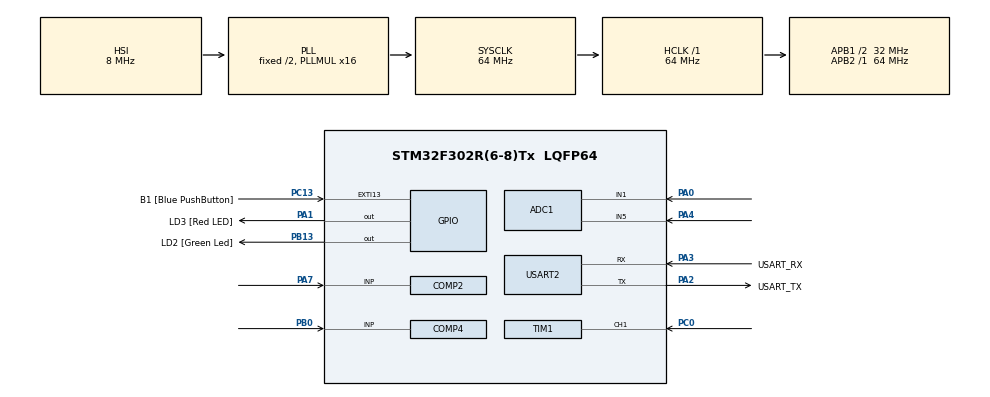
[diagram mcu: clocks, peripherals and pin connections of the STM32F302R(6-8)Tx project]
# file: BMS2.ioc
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ADC1.Channel-0\#ChannelRegularConversion=ADC_CHANNEL_1
ADC1.EnableInjectedConversion=DISABLE
ADC1.NbrOfConversion=1
ADC1.NbrOfConversionFlag=1
ADC1.Offset-0\#ChannelRegularConversion=0
ADC1.OffsetNumber-0\#ChannelRegularConversion=ADC_OFFSET_NONE
ADC1.Rank-0\#ChannelRegularConversion=1
ADC1.SamplingTime-0\#ChannelRegularConversion=ADC_SAMPLETIME_1CYCLE_5
ADC1.master=1
COMP2.InvertingInput=COMP_INVERTINGINPUT_1_2VREFINT
COMP2.TriggerMode=COMP_TRIGGERMODE_IT_FALLING
COMP4.InvertingInput=COMP_INVERTINGINPUT_VREFINT
COMP4.TriggerMode=COMP_TRIGGERMODE_IT_RISING_FALLING
Mcu.Family=STM32F3
Mcu.Name=STM32F302R(6-8)Tx
Mcu.Package=LQFP64
NVIC.ADC1_IRQn=true\:0\:0\:false\:false\:true\:true\:true\:true
NVIC.COMP2_IRQn=true\:0\:0\:false\:false\:true\:false\:true\:true
NVIC.COMP4_6_IRQn=true\:0\:0\:false\:false\:true\:false\:true\:true
NVIC.EXTI15_10_IRQn=true\:0\:0\:false\:false\:true\:true\:true\:true
NVIC.PriorityGroup=NVIC_PRIORITYGROUP_0
NVIC.RCC_IRQn=true\:0\:0\:false\:false\:true\:true\:false\:true
NVIC.TIM1_CC_IRQn=true\:0\:0\:false\:false\:true\:true\:true\:true
NVIC.TIM1_UP_TIM16_IRQn=true\:0\:0\:false\:false\:true\:true\:true\:true
PA0.Mode=IN1-Single-Ended
PA0.Signal=ADC1_IN1
PA1.GPIO_Label=LD3 [Red LED]
PA1.Signal=GPIO_Output
PA13.GPIO_Label=TMS
PA13.Mode=Serial_Wire
PA13.Signal=SYS_JTMS-SWDIO
PA14.GPIO_Label=TCK
PA14.Mode=Serial_Wire
PA14.Signal=SYS_JTCK-SWCLK
PA15.Signal=SPI3_NSS
PA2.GPIO_Label=USART_TX
PA2.GPIO_Mode=GPIO_MODE_AF_PP
PA2.GPIO_PuPd=GPIO_NOPULL
PA2.GPIO_Speed=GPIO_SPEED_FREQ_LOW
PA2.Mode=Asynchronous
PA2.Signal=USART2_TX
PA3.GPIO_Label=USART_RX
PA3.GPIO_Mode=GPIO_MODE_AF_PP
PA3.GPIO_PuPd=GPIO_NOPULL
PA3.GPIO_Speed=GPIO_SPEED_FREQ_LOW
PA3.Mode=Asynchronous
PA3.Signal=USART2_RX
PA4.Mode=IN5-Single-Ended
PA4.Signal=ADC1_IN5
PA7.Mode=INP
PA7.Signal=COMP2_INP
PB0.Mode=INP
PB0.Signal=COMP4_INP
PB13.GPIO_Label=LD2 [Green Led]
PB13.Signal=GPIO_Output
PB3.GPIO_Label=SWO
PB3.Mode=Trace_Asynchronous_SW
PB3.Signal=SYS_JTDO-TRACESWO
PC0.Signal=S_TIM1_CH1
PC13.GPIO_Label=B1 [Blue PushButton]
PC13.GPIO_ModeDefaultEXTI=GPIO_MODE_IT_FALLING
PC13.Signal=GPXTI13
PC14\ -\ OSC32_IN.Mode=LSE-External-Oscillator
PC14\ -\ OSC32_IN.Signal=RCC_OSC32_IN
PC15\ -\ OSC32_OUT.Mode=LSE-External-Oscillator
PC15\ -\ OSC32_OUT.Signal=RCC_OSC32_OUT
PF0-OSC_IN.Mode=HSE-External-Clock-Source
PF0-OSC_IN.Signal=RCC_OSC_IN
PF1-OSC_OUT.Signal=RCC_OSC_OUT
ProjectManager.HeapSize=0x200
ProjectManager.StackSize=0x400
ProjectManager.TargetToolchain=STM32CubeIDE
RCC.AHBFreq_Value=64000000
RCC.APB1CLKDivider=RCC_HCLK_DIV2
RCC.APB1Freq_Value=32000000
RCC.APB1TimFreq_Value=64000000
RCC.APB2Freq_Value=64000000
RCC.APB2TimFreq_Value=64000000
RCC.CortexFreq_Value=64000000
RCC.HCLKFreq_Value=64000000
RCC.HSE_VALUE=8000000
RCC.HSI_VALUE=8000000
RCC.PLLM=8
RCC.PLLMUL=RCC_PLL_MUL16
RCC.PLLN=336
RCC.PLLP=RCC_PLLP_DIV4
RCC.PLLQ=7
RCC.RCC_PLLsource_Clock_Source_FROM_HSE=RCC_HSE_PREDIV_DIV2
RCC.SYSCLKFreq_VALUE=64000000
RCC.SYSCLKSourceVirtual=RCC_SYSCLKSOURCE_PLLCLK
RCC.USBFreq_Value=64000000
SH.S_TIM1_CH1.0=TIM1_CH1,Input_Capture1_from_TI1
TIM1.Channel-Input_Capture1_from_TI1=TIM_CHANNEL_1
TIM1.ICFilter_CH1=4
USART2.VirtualMode-Asynchronous=VM_ASYNC
VP_COMP2_VS_VREFINT12.Mode=VREFINT_12
VP_COMP4_VS_VREFINT.Mode=VREFINT
VP_TIM1_VS_ClockSourceINT.Mode=Internal
VP_TIM1_VS_ControllerModeTrigger.Mode=Trigger Mode
VP_TIM1_VS_NoETR.Mode=TriggerSource_ETR_ADC_Remap_TIM1
board=NUCLEO-F302R8

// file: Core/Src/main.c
/* USER CODE BEGIN Header */
/**
 ******************************************************************************
 * @file           : main.c
 * @brief          : Main program body
 ******************************************************************************
 * @attention
 *
 * Copyright (c) 2025 STMicroelectronics.
 * All rights reserved.
 *
 * This software is licensed under terms that can be found in the LICENSE file
 * in the root directory of this software component.
 * If no LICENSE file comes with this software, it is provided AS-IS.
 *
 ******************************************************************************
 */
/* USER CODE END Header */
#include "main.h"

/* USER CODE BEGIN Includes */
#include "string.h"
#include <stdio.h>
/* USER CODE END Includes */

/* USER CODE BEGIN PD */
#define TEMP_HIGH_THRESHOLD 24
#define TEMP_LOW_THRESHOLD 20
#define SLEEP_TIME_MS 5000
#define WEIGHTED_GAIN 1.18

/* USER CODE END PD */

ADC_HandleTypeDef hadc1;

COMP_HandleTypeDef hcomp2;
COMP_HandleTypeDef hcomp4;

TIM_HandleTypeDef htim1;

UART_HandleTypeDef huart2;

/* USER CODE BEGIN PV */
volatile uint8_t wake_flag = 0;
volatile uint8_t wake_from_button = 0;
volatile uint8_t wake_from_temp = 0;
volatile uint8_t sleep_allowed = 0;
volatile uint32_t sleep_timer = 0;
volatile uint32_t comp_flag = 0;
volatile uint32_t adcBuffer[2]; // One for each channel (IN1 and IN5)
// volatile uint32_t adc_val_in1 = 0;
// volatile uint32_t adc_val_in5 = 0;
/* USER CODE END PV */

void SystemClock_Config(void);
static void MX_GPIO_Init(void);
static void MX_USART2_UART_Init(void);
static void MX_COMP2_Init(void);
static void MX_TIM1_Init(void);
static void MX_ADC1_Init(void);
static void MX_COMP4_Init(void);

/* USER CODE BEGIN 0 */
void enter_stop_mode(void)
{
  HAL_SuspendTick();
  HAL_PWR_EnterSTOPMode(PWR_LOWPOWERREGULATOR_ON, PWR_STOPENTRY_WFI);
}

void exit_stop_mode(void)
{
  HAL_ResumeTick();
  SystemClock_Config(); // Reinitialize clocks
}

void scan_adc_channels(void)
{
  ADC_ChannelConfTypeDef sConfig = {0};

  // Read ADC_IN1
  sConfig.Channel = ADC_CHANNEL_1;
  sConfig.Rank = ADC_REGULAR_RANK_1; // Always 1 when doing manual switching
  sConfig.SamplingTime = ADC_SAMPLETIME_1CYCLE_5;
  sConfig.SingleDiff = ADC_SINGLE_ENDED;
  sConfig.OffsetNumber = ADC_OFFSET_NONE;
  sConfig.Offset = 0;

  HAL_ADC_ConfigChannel(&hadc1, &sConfig);
  HAL_ADC_Start(&hadc1);
  HAL_ADC_PollForConversion(&hadc1, HAL_MAX_DELAY);
  adcBuffer[0] = HAL_ADC_GetValue(&hadc1);
  HAL_ADC_Stop(&hadc1);

  // Read ADC_IN5
  sConfig.Channel = ADC_CHANNEL_5; // change channel
  HAL_ADC_ConfigChannel(&hadc1, &sConfig);
  HAL_ADC_Start(&hadc1);
  HAL_ADC_PollForConversion(&hadc1, HAL_MAX_DELAY);
  adcBuffer[1] = HAL_ADC_GetValue(&hadc1);
  HAL_ADC_Stop(&hadc1);
}

float read_adc_values(void)
{
  scan_adc_channels();
  uint16_t adc_temp = adcBuffer[0];
  uint16_t adc_batt = adcBuffer[1];

  // For Temperature conversion
  float temp_mV = ((float)adc_temp / 4095.0) * 3300;
  float temp_mV_scaled = temp_mV * (WEIGHTED_GAIN);
  int Temperature_C = (temp_mV - 500) / 10;

  // For Battery conversion
  //  Extrapolated estimation model: battery % = m * voltage + c
  // From 1.9V = 0% and 2.8V = 100%
  // => m = 100 / (2.8 - 1.9) = 111.111, c = -1.4 * m = -155.55 (was -1.9*m=-211.11)
  float batt_mV = (adc_batt / 4095.0) * 3300;
  float battery_percent = (0.111f * batt_mV - 155.555f);

  if (battery_percent > 100.0f)
    battery_percent = 100.0;
  if (battery_percent < 0.0f)
    battery_percent = 0.0;

  char msg[100];
  snprintf(msg, sizeof(msg), "ADC_IN1: %d, Temp_mV: %d mV, Temp: %d C --- ADC_IN5: %d, Batt_mV: %d mV, Battery: %.1f%%\r\n", adc_temp, (int)temp_mV, Temperature_C, adc_batt, (int)batt_mV, battery_percent);
  HAL_UART_Transmit(&huart2, (uint8_t *)msg, strlen(msg), HAL_MAX_DELAY);

  return Temperature_C;
}
/* USER CODE END 0 */

int main(void)
{

  /* MCU Configuration--------------------------------------------------------*/

  /* Reset of all peripherals, Initializes the Flash interface and the Systick. */
  HAL_Init();

  /* Configure the system clock */
  SystemClock_Config();

  /* Initialize all configured peripherals */
  MX_GPIO_Init();
  MX_USART2_UART_Init();
  MX_COMP2_Init();
  MX_TIM1_Init();
  MX_ADC1_Init();
  MX_COMP4_Init();
  /* USER CODE BEGIN 2 */
  HAL_COMP_Start_IT(&hcomp2);
  HAL_COMP_Start_IT(&hcomp4);

  HAL_NVIC_SetPriority(COMP_IRQn, 1, 0);
  HAL_NVIC_EnableIRQ(COMP_IRQn);

  /* USER CODE END 2 */

  /* Infinite loop */
  while (1)
  {

    /* USER CODE BEGIN 3 */
    float temp = read_adc_values();

    if (wake_flag)
    {
      if (wake_from_temp)
      {
        wake_from_temp = 0;
        HAL_COMP_Stop_IT(&hcomp2);
        comp_flag = 0; // Mark comparator as stopped

        const char *msg = "Woke up: temperature dropped below threshold.\r\n";
        HAL_UART_Transmit(&huart2, (uint8_t *)msg, strlen(msg), HAL_MAX_DELAY);

        sleep_allowed = 0;
      }

      if (wake_from_button)
      {
        wake_from_button = 0;
        const char *msg = "Woke up: manual button press.\r\n";
        HAL_UART_Transmit(&huart2, (uint8_t *)msg, strlen(msg), HAL_MAX_DELAY);
        sleep_timer = HAL_GetTick() + SLEEP_TIME_MS;
      }

      wake_flag = 0;
    }

    if (temp > TEMP_HIGH_THRESHOLD)
    {
      const char *msg = "Temp too high!\r\n";
      HAL_UART_Transmit(&huart2, (uint8_t *)msg, strlen(msg), HAL_MAX_DELAY);

      HAL_GPIO_WritePin(LD2_GPIO_Port, LD2_Pin, GPIO_PIN_SET);
      HAL_GPIO_WritePin(LD3_GPIO_Port, LD3_Pin, GPIO_PIN_SET);

      if (!comp_flag) // Only start if it's currently off
      {
        HAL_COMP_Start_IT(&hcomp2);
        const char *start_msg = "Starting COMP2..\r\n";
        HAL_UART_Transmit(&huart2, (uint8_t *)start_msg, strlen(start_msg), HAL_MAX_DELAY);
        comp_flag = 1;
      }

      if (HAL_GetTick() >= sleep_timer)
      {
        sleep_allowed = 1;
      }
      else
      {
        sleep_allowed = 0;
      }
    }
    else
    {
      HAL_GPIO_WritePin(LD2_GPIO_Port, LD2_Pin, GPIO_PIN_RESET);
      HAL_GPIO_WritePin(LD3_GPIO_Port, LD3_Pin, GPIO_PIN_RESET);

      if (comp_flag) // Only stop if it's currently on
      {
        HAL_COMP_Stop_IT(&hcomp2);
        const char *stop_msg = "Stopping COMP2..\r\n";
        HAL_UART_Transmit(&huart2, (uint8_t *)stop_msg, strlen(stop_msg), HAL_MAX_DELAY);
        comp_flag = 0;
      }

      sleep_allowed = 0;
    }

    if (sleep_allowed)
    {
      const char *msg = "Going back to sleep...\r\n";
      HAL_UART_Transmit(&huart2, (uint8_t *)msg, strlen(msg), HAL_MAX_DELAY);
      enter_stop_mode();
    }

    HAL_Delay(500); // Delay before next loop
  }
  /* USER CODE END 3 */
}

void SystemClock_Config(void)
{
  RCC_OscInitTypeDef RCC_OscInitStruct = {0};
  RCC_ClkInitTypeDef RCC_ClkInitStruct = {0};
  RCC_PeriphCLKInitTypeDef PeriphClkInit = {0};

  /** Initializes the RCC Oscillators according to the specified parameters
   * in the RCC_OscInitTypeDef structure.
   */
  RCC_OscInitStruct.OscillatorType = RCC_OSCILLATORTYPE_HSI;
  RCC_OscInitStruct.HSIState = RCC_HSI_ON;
  RCC_OscInitStruct.HSICalibrationValue = RCC_HSICALIBRATION_DEFAULT;
  RCC_OscInitStruct.PLL.PLLState = RCC_PLL_ON;
  RCC_OscInitStruct.PLL.PLLSource = RCC_PLLSOURCE_HSI;
  RCC_OscInitStruct.PLL.PLLMUL = RCC_PLL_MUL16;
  if (HAL_RCC_OscConfig(&RCC_OscInitStruct) != HAL_OK)
  {
    Error_Handler();
  }

  /** Initializes the CPU, AHB and APB buses clocks
   */
  RCC_ClkInitStruct.ClockType = RCC_CLOCKTYPE_HCLK | RCC_CLOCKTYPE_SYSCLK | RCC_CLOCKTYPE_PCLK1 | RCC_CLOCKTYPE_PCLK2;
  RCC_ClkInitStruct.SYSCLKSource = RCC_SYSCLKSOURCE_PLLCLK;
  RCC_ClkInitStruct.AHBCLKDivider = RCC_SYSCLK_DIV1;
  RCC_ClkInitStruct.APB1CLKDivider = RCC_HCLK_DIV2;
  RCC_ClkInitStruct.APB2CLKDivider = RCC_HCLK_DIV1;

  if (HAL_RCC_ClockConfig(&RCC_ClkInitStruct, FLASH_LATENCY_2) != HAL_OK)
  {
    Error_Handler();
  }
  PeriphClkInit.PeriphClockSelection = RCC_PERIPHCLK_TIM1 | RCC_PERIPHCLK_ADC1;
  PeriphClkInit.Tim1ClockSelection = RCC_TIM1CLK_HCLK;
  PeriphClkInit.Adc1ClockSelection = RCC_ADC1PLLCLK_DIV1;

  if (HAL_RCCEx_PeriphCLKConfig(&PeriphClkInit) != HAL_OK)
  {
    Error_Handler();
  }
}

static void MX_ADC1_Init(void)
{

  ADC_ChannelConfTypeDef sConfig = {0};

  /** Common config
   */
  hadc1.Instance = ADC1;
  hadc1.Init.ClockPrescaler = ADC_CLOCK_ASYNC_DIV1;
  hadc1.Init.Resolution = ADC_RESOLUTION_12B;
  hadc1.Init.ScanConvMode = ADC_SCAN_DISABLE;
  hadc1.Init.ContinuousConvMode = DISABLE;
  hadc1.Init.DiscontinuousConvMode = DISABLE;
  hadc1.Init.ExternalTrigConvEdge = ADC_EXTERNALTRIGCONVEDGE_NONE;
  hadc1.Init.ExternalTrigConv = ADC_SOFTWARE_START;
  hadc1.Init.DataAlign = ADC_DATAALIGN_RIGHT;
  hadc1.Init.NbrOfConversion = 1;
  hadc1.Init.DMAContinuousRequests = DISABLE;
  hadc1.Init.EOCSelection = ADC_EOC_SINGLE_CONV;
  hadc1.Init.LowPowerAutoWait = DISABLE;
  hadc1.Init.Overrun = ADC_OVR_DATA_OVERWRITTEN;
  if (HAL_ADC_Init(&hadc1) != HAL_OK)
  {
    Error_Handler();
  }

  /** Configure Regular Channel
   */
  sConfig.Channel = ADC_CHANNEL_1;
  sConfig.Rank = ADC_REGULAR_RANK_1;
  sConfig.SingleDiff = ADC_SINGLE_ENDED;
  sConfig.SamplingTime = ADC_SAMPLETIME_1CYCLE_5;
  sConfig.OffsetNumber = ADC_OFFSET_NONE;
  sConfig.Offset = 0;
  if (HAL_ADC_ConfigChannel(&hadc1, &sConfig) != HAL_OK)
  {
    Error_Handler();
  }
}

static void MX_COMP2_Init(void)
{

  hcomp2.Instance = COMP2;
  hcomp2.Init.InvertingInput = COMP_INVERTINGINPUT_1_2VREFINT;
  hcomp2.Init.NonInvertingInput = COMP_NONINVERTINGINPUT_IO1;
  hcomp2.Init.Output = COMP_OUTPUT_NONE;
  hcomp2.Init.OutputPol = COMP_OUTPUTPOL_NONINVERTED;
  hcomp2.Init.BlankingSrce = COMP_BLANKINGSRCE_NONE;
  hcomp2.Init.TriggerMode = COMP_TRIGGERMODE_IT_FALLING;
  if (HAL_COMP_Init(&hcomp2) != HAL_OK)
  {
    Error_Handler();
  }
}

static void MX_COMP4_Init(void)
{

  hcomp4.Instance = COMP4;
  hcomp4.Init.InvertingInput = COMP_INVERTINGINPUT_VREFINT;
  hcomp4.Init.NonInvertingInput = COMP_NONINVERTINGINPUT_IO1;
  hcomp4.Init.Output = COMP_OUTPUT_NONE;
  hcomp4.Init.OutputPol = COMP_OUTPUTPOL_NONINVERTED;
  hcomp4.Init.BlankingSrce = COMP_BLANKINGSRCE_NONE;
  hcomp4.Init.TriggerMode = COMP_TRIGGERMODE_IT_RISING_FALLING;
  if (HAL_COMP_Init(&hcomp4) != HAL_OK)
  {
    Error_Handler();
  }
}

static void MX_TIM1_Init(void)
{

  TIM_ClockConfigTypeDef sClockSourceConfig = {0};
  TIM_SlaveConfigTypeDef sSlaveConfig = {0};
  TIM_MasterConfigTypeDef sMasterConfig = {0};
  TIM_IC_InitTypeDef sConfigIC = {0};

  htim1.Instance = TIM1;
  htim1.Init.Prescaler = 0;
  htim1.Init.CounterMode = TIM_COUNTERMODE_UP;
  htim1.Init.Period = 65535;
  htim1.Init.ClockDivision = TIM_CLOCKDIVISION_DIV1;
  htim1.Init.RepetitionCounter = 0;
  htim1.Init.AutoReloadPreload = TIM_AUTORELOAD_PRELOAD_DISABLE;
  if (HAL_TIM_Base_Init(&htim1) != HAL_OK)
  {
    Error_Handler();
  }
  sClockSourceConfig.ClockSource = TIM_CLOCKSOURCE_INTERNAL;
  if (HAL_TIM_ConfigClockSource(&htim1, &sClockSourceConfig) != HAL_OK)
  {
    Error_Handler();
  }
  if (HAL_TIM_IC_Init(&htim1) != HAL_OK)
  {
    Error_Handler();
  }
  sSlaveConfig.SlaveMode = TIM_SLAVEMODE_TRIGGER;
  sSlaveConfig.InputTrigger = TIM_TS_ETRF;
  sSlaveConfig.TriggerPolarity = TIM_TRIGGERPOLARITY_NONINVERTED;
  sSlaveConfig.TriggerPrescaler = TIM_TRIGGERPRESCALER_DIV1;
  sSlaveConfig.TriggerFilter = 0;
  if (HAL_TIM_SlaveConfigSynchro(&htim1, &sSlaveConfig) != HAL_OK)
  {
    Error_Handler();
  }
  sMasterConfig.MasterOutputTrigger = TIM_TRGO_RESET;
  sMasterConfig.MasterOutputTrigger2 = TIM_TRGO2_RESET;
  sMasterConfig.MasterSlaveMode = TIM_MASTERSLAVEMODE_DISABLE;
  if (HAL_TIMEx_MasterConfigSynchronization(&htim1, &sMasterConfig) != HAL_OK)
  {
    Error_Handler();
  }
  if (HAL_TIMEx_RemapConfig(&htim1, TIM_TIM1_ADC1_NONE) != HAL_OK)
  {
    Error_Handler();
  }
  sConfigIC.ICPolarity = TIM_INPUTCHANNELPOLARITY_RISING;
  sConfigIC.ICSelection = TIM_ICSELECTION_DIRECTTI;
  sConfigIC.ICPrescaler = TIM_ICPSC_DIV1;
  sConfigIC.ICFilter = 4;
  if (HAL_TIM_IC_ConfigChannel(&htim1, &sConfigIC, TIM_CHANNEL_1) != HAL_OK)
  {
    Error_Handler();
  }
}

static void MX_USART2_UART_Init(void)
{

  huart2.Instance = USART2;
  huart2.Init.BaudRate = 38400;
  huart2.Init.WordLength = UART_WORDLENGTH_8B;
  huart2.Init.StopBits = UART_STOPBITS_1;
  huart2.Init.Parity = UART_PARITY_NONE;
  huart2.Init.Mode = UART_MODE_TX_RX;
  huart2.Init.HwFlowCtl = UART_HWCONTROL_NONE;
  huart2.Init.OverSampling = UART_OVERSAMPLING_16;
  huart2.Init.OneBitSampling = UART_ONE_BIT_SAMPLE_DISABLE;
  huart2.AdvancedInit.AdvFeatureInit = UART_ADVFEATURE_NO_INIT;
  if (HAL_UART_Init(&huart2) != HAL_OK)
  {
    Error_Handler();
  }
}

static void MX_GPIO_Init(void)
{
  GPIO_InitTypeDef GPIO_InitStruct = {0};

  /* GPIO Ports Clock Enable */
  __HAL_RCC_GPIOC_CLK_ENABLE();
  __HAL_RCC_GPIOF_CLK_ENABLE();
  __HAL_RCC_GPIOA_CLK_ENABLE();
  __HAL_RCC_GPIOB_CLK_ENABLE();

  /*Configure GPIO pin Output Level */
  HAL_GPIO_WritePin(LD3_GPIO_Port, LD3_Pin, GPIO_PIN_RESET);

  /*Configure GPIO pin Output Level */
  HAL_GPIO_WritePin(LD2_GPIO_Port, LD2_Pin, GPIO_PIN_RESET);

  /*Configure GPIO pin : B1_Pin */
  GPIO_InitStruct.Pin = B1_Pin;
  GPIO_InitStruct.Mode = GPIO_MODE_IT_FALLING;
  GPIO_InitStruct.Pull = GPIO_NOPULL;
  HAL_GPIO_Init(B1_GPIO_Port, &GPIO_InitStruct);

  /*Configure GPIO pin : LD3_Pin */
  GPIO_InitStruct.Pin = LD3_Pin;
  GPIO_InitStruct.Mode = GPIO_MODE_OUTPUT_PP;
  GPIO_InitStruct.Pull = GPIO_NOPULL;
  GPIO_InitStruct.Speed = GPIO_SPEED_FREQ_LOW;
  HAL_GPIO_Init(LD3_GPIO_Port, &GPIO_InitStruct);

  /*Configure GPIO pin : LD2_Pin */
  GPIO_InitStruct.Pin = LD2_Pin;
  GPIO_InitStruct.Mode = GPIO_MODE_OUTPUT_PP;
  GPIO_InitStruct.Pull = GPIO_NOPULL;
  GPIO_InitStruct.Speed = GPIO_SPEED_FREQ_LOW;
  HAL_GPIO_Init(LD2_GPIO_Port, &GPIO_InitStruct);

  /*Configure GPIO pin : PA15 */
  GPIO_InitStruct.Pin = GPIO_PIN_15;
  GPIO_InitStruct.Mode = GPIO_MODE_AF_PP;
  GPIO_InitStruct.Pull = GPIO_NOPULL;
  GPIO_InitStruct.Speed = GPIO_SPEED_FREQ_HIGH;
  GPIO_InitStruct.Alternate = GPIO_AF6_SPI3;
  HAL_GPIO_Init(GPIOA, &GPIO_InitStruct);

  /* EXTI interrupt init*/
  HAL_NVIC_SetPriority(EXTI15_10_IRQn, 0, 0);
  HAL_NVIC_EnableIRQ(EXTI15_10_IRQn);

}

/* USER CODE BEGIN 4 */
void HAL_GPIO_EXTI_Callback(uint16_t GPIO_Pin)
{
  if (GPIO_Pin == B1_Pin)
  {
    exit_stop_mode();
    wake_from_button = 1;
    wake_flag = 1;
  }
}

void HAL_COMP_TriggerCallback(COMP_HandleTypeDef *hcomp)
{
  if (hcomp->Instance == COMP2)
  {
    exit_stop_mode();
    wake_from_temp = 1;
    wake_flag = 1;
  }
}

/* USER CODE END 4 */

void Error_Handler(void)
{
  __disable_irq();
  while (1)
  {
  }
}
